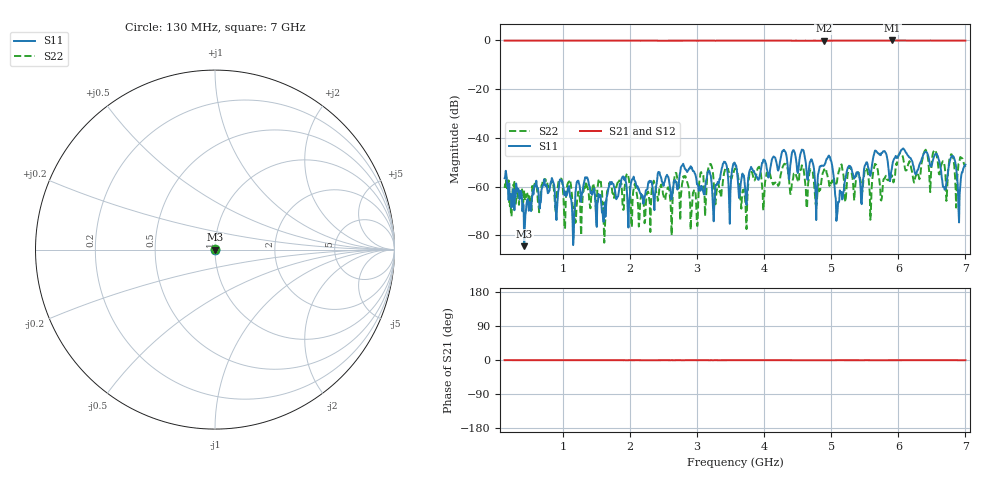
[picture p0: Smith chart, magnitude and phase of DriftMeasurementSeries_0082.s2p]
# Hz S RI R 50.000000
! Metas.Vna.Tools, 2.8.8664.20301
! Metas.Vna.Data, 2.8.8664.20285
! Created: UTC 2024.02.11 10:08:44
! FREQ  re:S1,1  im:S1,1  re:S2,1  im:S2,1  re:S1,2  im:S1,2  re:S2,2  im:S2,2
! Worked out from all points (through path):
!   801 points, 130 MHz to 7 GHz, reference 50 ohm
!   highest |S21| = -0.02 dB at 5.909 GHz (marker M1); lowest = -0.1 dB at 4.887 GHz (marker M2)
!   lowest |S11| = -84.4 dB at 422 MHz (marker M3), VSWR 1.00, Z = 50 + j0.00564 ohm
!   |S11| at or under -10 dB: start of sweep to end of sweep
!   |S22| runs from -83.0 to -44.8 dB; largest |S21 - S12| = 0.016
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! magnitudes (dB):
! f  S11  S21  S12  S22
! 130 MHz  -56.6  -0.1  0.0  -60.5
! 422 MHz  -84.4  0.0  0.0  -61.4
! 1.281 GHz  -62.9  -0.1  0.0  -69.0
! 1.547 GHz  -64.3  0.0  0.0  -57.1
! 1.607 GHz  -74.5  -0.1  0.0  -74.8
! 1.959 GHz  -64.9  -0.1  0.0  -54.6
! 2.423 GHz  -54.0  -0.1  0.0  -64.9
! 3.256 GHz  -67.7  -0.1  0.0  -61.8
! 3.565 GHz  -50.4  -0.1  0.0  -52.6
! 3.711 GHz  -59.2  -0.1  0.0  -64.1
! 3.917 GHz  -57.2  -0.1  0.0  -52.0
! 4.716 GHz  -49.4  -0.1  0.0  -53.8
! 4.887 GHz  -51.5  -0.1  0.0  -53.4
! 5.094 GHz  -70.4  -0.1  0.0  -56.2
! 5.265 GHz  -51.4  -0.1  0.0  -52.2
! 5.858 GHz  -53.6  -0.1  0.0  -57.0
! 5.909 GHz  -51.4  0.0  0.0  -55.5
! 6.562 GHz  -46.7  -0.1  0.0  -45.8
! 6.691 GHz  -61.3  -0.1  0.0  -51.6
! 6.811 GHz  -47.4  -0.1  0.0  -47.8
! 6.906 GHz  -74.7  -0.1  0.0  -50.5
! 7 GHz  -50.9  -0.1  0.0  -51.9
